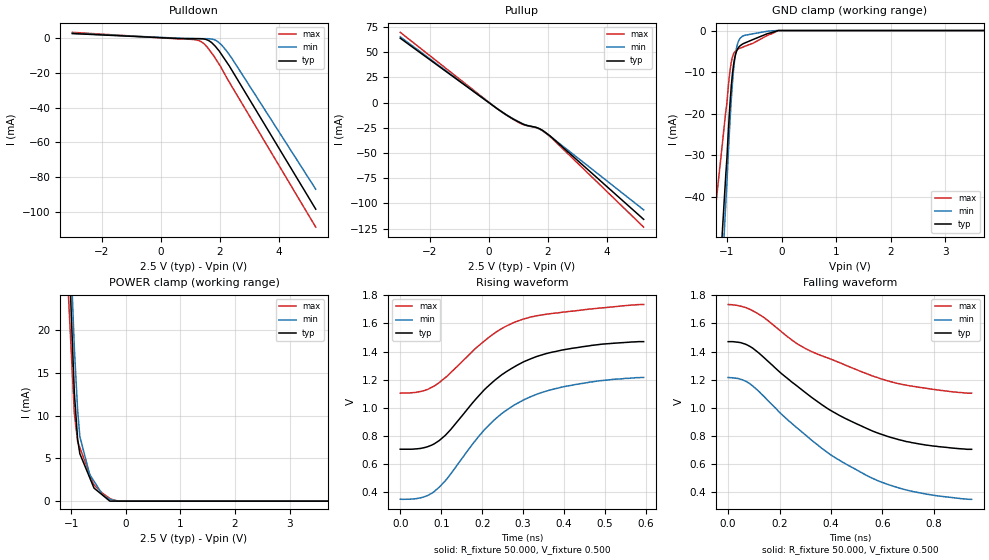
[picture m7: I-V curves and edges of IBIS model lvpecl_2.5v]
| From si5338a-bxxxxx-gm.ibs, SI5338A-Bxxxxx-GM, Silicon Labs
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[Model] lvpecl_2.5v
Model_type 3-state_ECL
Vref=0.5000V
Rref=50.0000ohms
Cref=0.00000pF
Vmeas=1.100V
C_comp 1.11000pF 1.10000pF 1.12000pF
[Model Spec]
| Subparameter typ min max
Vmeas   1.10  0.85  1.35
| variable typ   min   max
[Voltage Range] 2.50000V 2.25000V 2.75000V
[POWER Clamp Reference] 2.50000V 2.25000V 2.75000V
[Pullup Reference] 2.50000V 2.25000V 2.75000V
[Pulldown Reference] 2.50000V 2.25000V 2.75000V
[GND Clamp Reference] 0.00000V 0.00000V 0.00000V
[Temperature Range]   25   85   -40
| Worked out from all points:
|   POWER clamp passes 1 mA (typ) near -0.48 V on its own axis
|   falling waveform, R_fixture 50.000, V_fixture 0.500: 20-80 % time 370ps typ, 376ps min, 394ps max; typ from 1.47 V to 0.704 V
|   rising waveform, R_fixture 50.000, V_fixture 0.500: 20-80 % time 168ps typ, 171ps min, 162ps max; typ from 0.704 V to 1.47 V
[GND Clamp]
-2.5V     -357.6mA   -414.9mA   -202.2mA
-1.02V    -34.63mA   -41.4mA    -19.44mA
-1V       -30.76mA   -36.77mA   -17.45mA
-960mV    -21mA      -25.83mA   -11.52mA
-940mV    -16.86mA   -20.96mA   -9.278mA
-920mV    -13.35mA   -16.63mA   -7.605mA
-880mV    -8.364mA   -9.777mA   -5.661mA
-840mV    -5.661mA   -5.349mA   -4.922mA
-800mV    -4.332mA   -2.974mA   -4.493mA
-700mV    -3.158mA   -1.28mA    -3.94mA
-60mV     0A         0A         0A
5V        0A         0A         0A
[Pulldown]
-3V       2.347mA    2.463mA    3.048mA
1.02V     -555.9uA   -526uA     -962.2uA
1.2V      -579.1uA   -552.4uA   -1.284mA
1.4V      -667.8uA   -581.8uA   -2.644mA
1.58V     -1.363mA   -608.3uA   -5.563mA
1.72V     -2.809mA   -795.8uA   -8.764mA
1.92V     -6.469mA   -2.134mA   -13.77mA
2.06V     -9.708mA   -4.212mA   -17.65mA
2.22V     -13.71mA   -7.43mA    -22.54mA
2.4V      -18.44mA   -11.62mA   -27.73mA
5.25V     -98.2mA    -86.77mA   -108.5mA
[Pullup]
-3V       63.9mA     65.28mA    69.72mA
440mV     -9.144mA   -9.082mA   -9.335mA
1.06V     -19.87mA   -19.7mA    -20.43mA
1.3V      -22.73mA   -22.63mA   -22.99mA
1.62V     -24.74mA   -24.93mA   -25mA
1.82V     -27.48mA   -27.74mA   -27.93mA
1.98V     -30.96mA   -30.96mA   -31.39mA
5.25V     -115.9mA   -106.4mA   -123.6mA
[POWER Clamp]
-3V       350.9mA    356.5mA    279.9mA
-1.14V    45.48mA    50.75mA    35.81mA
-940mV    12.64mA    17.87mA    10.26mA
-880mV    7.238mA    10.64mA    6.964mA
-840mV    5.557mA    7.569mA    6.272mA
-660mV    2.765mA    3.132mA    3.159mA
-600mV    1.835mA    2.526mA    2.122mA
-580mV    1.525mA    2.324mA    1.887mA
-420mV    683.5uA    709.3uA    900.5uA
-290mV    0A         198.1uA    308.1uA
-140mV    0A         0A         0A
5.25V     0A         0A         0A
[Falling Waveform]
R_fixture = 50.000
V_fixture = 0.500
V_fixture_min = 0.250
V_fixture_max = 0.750
|  time   V(typ)   V(min)   V(max)
0s        1.471V     1.215V     1.735V
40ps      1.466V     1.208V     1.727V
84ps      1.438V     1.171V     1.702V
141ps     1.355V     1.078V     1.64V
244ps     1.188V     894.6mV    1.488V
299ps     1.11V      808.9mV    1.423V
398ps     981.5mV    666mV      1.347V
547ps     846.2mV    510.2mV    1.237V
714ps     751.8mV    405.3mV    1.154V
947ps     704mV      347.8mV    1.104V
[Rising Waveform]
R_fixture = 50.000
V_fixture = 0.500
V_fixture_min = 0.250
V_fixture_max = 0.750
|  time   V(typ)   V(min)   V(max)
0s        704mV      347.8mV    1.104V
51ps      710.8mV    358.5mV    1.116V
83ps      742.7mV    402.9mV    1.154V
110ps     802.9mV    479.5mV    1.214V
190ps     1.079V     790.7mV    1.438V
217ps     1.16V      877.7mV    1.503V
249ps     1.238V     960.9mV    1.565V
302ps     1.329V     1.057V     1.633V
405ps     1.416V     1.153V     1.683V
594ps     1.471V     1.215V     1.735V
[Ramp]
| variable typ min max
dV/dt_r 404.319m/167.048p 403.714m/170.066p 396.284m/161.861p
dV/dt_f 404.319m/370.206p 403.714m/374.841p 396.284m/393.830p
R_load = 50.0000Ohms
